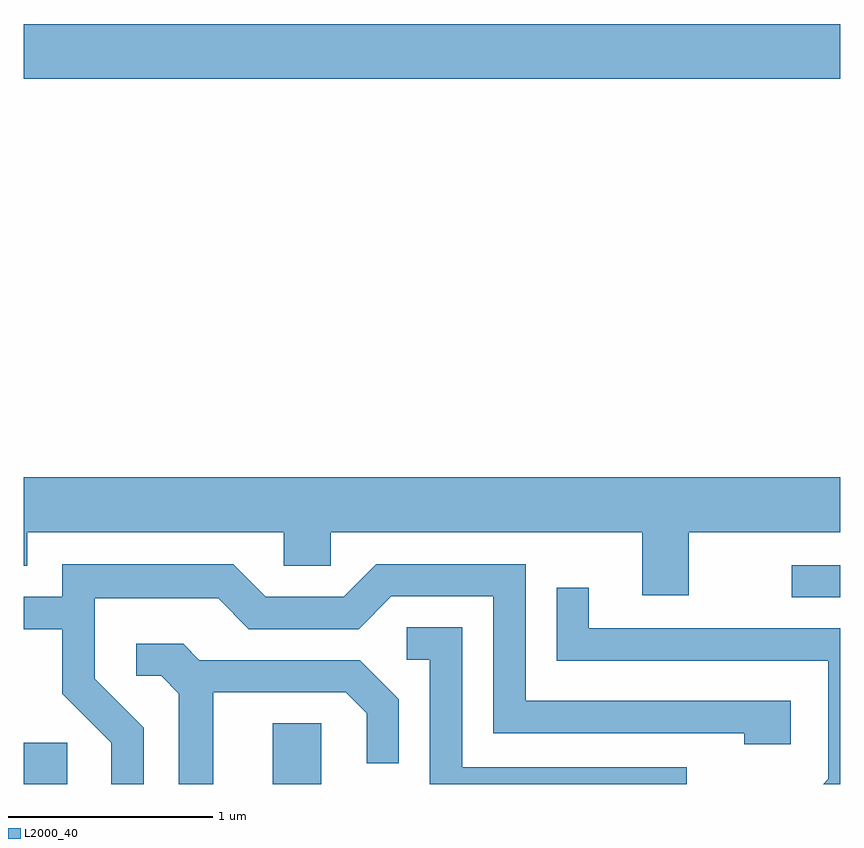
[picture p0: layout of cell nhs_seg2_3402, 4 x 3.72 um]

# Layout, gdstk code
import gdstk
lib = gdstk.Library(unit=1e-6, precision=1e-09)
def R(c, l, rs):  # rectangles x0, y0, x1, y1
    for r in rs: c.add(gdstk.rectangle(r[:2], r[2:], *l))
def P(c, l, *ps):  # polygons
    for p in ps: c.add(gdstk.Polygon(p, *l))
L2000_40 = (2000, 40)

nhs_seg2_3402 = lib.new_cell('nhs_seg2_3402')
R(nhs_seg2_3402, L2000_40, [(285.611,993.802,285.824,994.004), (286.831,993.802,287.069,994.099), (289.373,994.716,289.611,994.874), (285.611,997.256,289.611,997.524)])
P(nhs_seg2_3402, L2000_40, [(288.869,995.036),(289.611,995.036),(289.611,995.304),(285.611,995.304),(285.611,994.871),(285.629,994.871),(285.629,995.036),(286.886,995.036),(286.886,994.871),(287.114,994.871),(287.114,995.036),(288.641,995.036),(288.641,994.726),(288.869,994.726)],
  [(286.199,994.077),(285.959,994.317),(285.959,994.711),(286.564,994.711),(286.714,994.561),(287.252,994.561),(287.412,994.721),(287.911,994.721),(287.911,994.051),(289.141,994.051),(289.141,993.996),(289.369,993.996),(289.369,994.209),(288.069,994.209),(288.069,994.879),(287.339,994.879),(287.179,994.719),(286.797,994.719),(286.637,994.879),(285.801,994.879),(285.801,994.719),(285.611,994.719),(285.611,994.561),(285.801,994.561),(285.801,994.244),(286.041,994.004),(286.041,993.802),(286.199,993.802)],
  [(289.611,994.564),(288.379,994.564),(288.379,994.763),(288.221,994.763),(288.221,994.406),(289.551,994.406),(289.551,993.827),(289.526,993.802),(289.611,993.802)],
  [(288.858,993.884),(287.759,993.884),(287.759,994.569),(287.488,994.569),(287.488,994.411),(287.601,994.411),(287.601,993.802),(288.858,993.802)],
  [(286.539,994.251),(287.189,994.251),(287.291,994.149),(287.291,993.903),(287.449,993.903),(287.449,994.217),(287.257,994.409),(286.472,994.409),(286.392,994.489),(286.163,994.489),(286.163,994.331),(286.284,994.331),(286.371,994.244),(286.371,993.802),(286.539,993.802)])

lib.write_gds('nhs_seg2_3402.gds')
